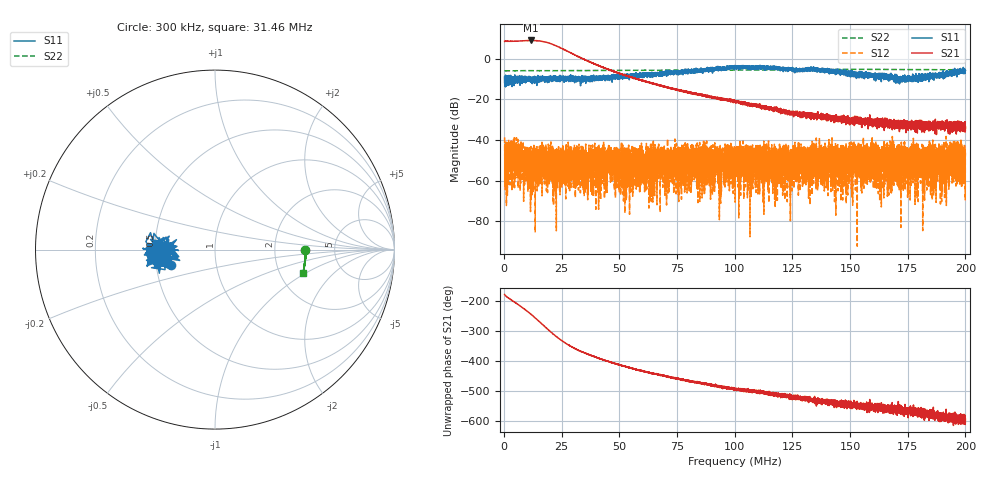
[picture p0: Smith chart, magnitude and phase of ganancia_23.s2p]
# Hz S DB R 50
! CMT, M5065, 19127446, 24.2.4/2
! Date: 10/29/2024 12:20:59 PM
! Data: Format (Calibration Info)
! Freq	S11:dB/Ang(F2)	S21:dB/Ang(F2)	S12:dB/Ang(F2)	S22:dB/Ang(F2)
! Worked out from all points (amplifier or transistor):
!   9000 points, 300 kHz to 200 MHz, reference 50 ohm
!   highest |S21| = 9.0 dB at 11.77 MHz (marker M1)
!   |S21| within 3 dB of that: start of sweep to 23.33 MHz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
!   unconditionally stable (mu >= 1): start of sweep to end of sweep
!   at 33.59 MHz: K = 65.96, MAG = 2.1 dB, |S12| = -46.4 dB
!   at 100.2 MHz: K = 1450.29, MAG = -17.6 dB, |S12| = -55.1 dB
!   at 200 MHz: K = 2793.54, MAG = -31.4 dB, |S12| = -46.3 dB
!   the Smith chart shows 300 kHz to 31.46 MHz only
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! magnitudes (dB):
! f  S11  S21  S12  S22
! 300 kHz  -11.8  8.5  -38.7  -6.0
! 1.321 MHz  -9.4  8.6  -54.9  -6.0
! 5.67 MHz  -10.1  8.6  -49.7  -5.9
! 11.77 MHz  -11.3  9.0  -47.1  -5.9
! 16.08 MHz  -10.2  8.6  -46.9  -5.9
! 21.71 MHz  -10.8  6.8  -65.0  -5.9
! 24.53 MHz  -9.4  5.4  -55.8  -5.9
! 33.59 MHz  -9.2  0.3  -46.4  -5.8
! 66.87 MHz  -8.2  -12.8  -54.4  -5.7
! 100.2 MHz  -4.3  -21.0  -55.1  -5.6
! 116.7 MHz  -4.5  -24.7  -47.5  -5.5
! 118.3 MHz  -5.5  -24.8  -60.3  -5.5
! 133.4 MHz  -5.5  -27.7  -53.9  -5.4
! 145.9 MHz  -5.9  -28.4  -52.7  -5.3
! 149.8 MHz  -7.6  -29.4  -50.0  -5.3
! 166.7 MHz  -9.4  -33.2  -54.9  -5.3
! 182.4 MHz  -8.1  -33.7  -51.3  -5.4
! 187.9 MHz  -8.9  -32.8  -53.9  -5.4
! 191.9 MHz  -7.6  -32.4  -49.3  -5.4
! 194.3 MHz  -6.8  -34.0  -49.0  -5.4
! 198.4 MHz  -5.8  -33.7  -49.2  -5.5
! 200 MHz  -5.9  -34.1  -46.3  -5.5
